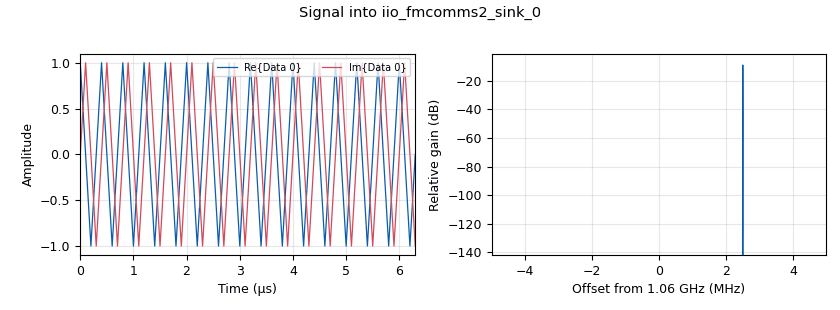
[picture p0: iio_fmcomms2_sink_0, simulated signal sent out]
options:
  parameters:
    author: cnsl
    generate_options: qt_gui
    id: plutoSDR
    output_language: python
    title: Not titled yet
  states: {}

blocks:
- name: center_freq
  id: variable
  parameters:
    value: int(1060e6)
  states: {}
- name: samp_rate
  id: variable
  parameters:
    value: int(61.44e6/8)
  states: {state: disabled}
- name: samp_rate
  id: variable
  parameters:
    value: int(10e6)
  states: {}
- name: analog_sig_source_x_0
  id: analog_sig_source_x
  parameters:
    amp: '1'
    freq: samp_rate/4
    offset: '0'
    phase: '0'
    samp_rate: samp_rate
    type: complex
    waveform: analog.GR_SIN_WAVE
  states: {}
- name: blocks_null_sink_0
  id: blocks_null_sink
  parameters:
    type: complex
  states: {state: disabled}
- name: iio_fmcomms2_sink_0
  id: iio_fmcomms2_sink
  parameters:
    attenuation1: '80'
    bandwidth: '30000000'
    buffer_size: 32768*2
    cyclic: 'True'
    filter_source: '''Auto'''
    frequency: center_freq
    rf_port_select: '''A'''
    samplerate: samp_rate
    tx1_en: 'True'
    tx2_en: 'False'
    type: fc32
    uri: ip:192.168.2.1
  states: {}
- name: iio_fmcomms2_source_0
  id: iio_fmcomms2_source
  parameters:
    bandwidth: '30000000'
    bbdc: 'True'
    buffer_size: 32768*16
    filter_source: '''Auto'''
    frequency: center_freq
    gain2: '''slow_attack'''
    minoutbuf: '1048576'
    quadrature: 'True'
    rf_port_select: '''A_BALANCED'''
    rfdc: 'True'
    rx1_en: 'False'
    rx2_en: 'True'
    samplerate: samp_rate
    type: fc32
    uri: ip:192.168.6.10
  states: {}
- name: iio_pluto_source_0
  id: iio_pluto_source
  parameters:
    bandwidth: '20000000'
    bbdc: 'True'
    buffer_size: '32768'
    filter_source: '''Auto'''
    frequency: center_freq
    gain1: '''slow_attack'''
    quadrature: 'True'
    rfdc: 'True'
    samplerate: samp_rate
    type: fc32
    uri: ip:192.168.2.1
  states: {state: disabled}
- name: qtgui_freq_sink_x_0
  id: qtgui_freq_sink_x
  parameters:
    bw: samp_rate/2
    fc: center_freq
    fftsize: '1024'
    grid: 'True'
    tr_level: 0-60
    type: complex
    update_time: '1'
  states: {}
- name: qtgui_time_sink_x_0
  id: qtgui_time_sink_x
  parameters:
    size: '512'
    srate: samp_rate
    type: complex
    update_time: '0.5'
  states: {state: disabled}

connections:
- [analog_sig_source_x_0, '0', iio_fmcomms2_sink_0, '0']
- [iio_fmcomms2_source_0, '0', blocks_null_sink_0, '0']
- [iio_fmcomms2_source_0, '0', qtgui_freq_sink_x_0, '0']
- [iio_fmcomms2_source_0, '0', qtgui_time_sink_x_0, '0']

metadata:
  file_format: 1
  grc_version: 3.10.11.0
